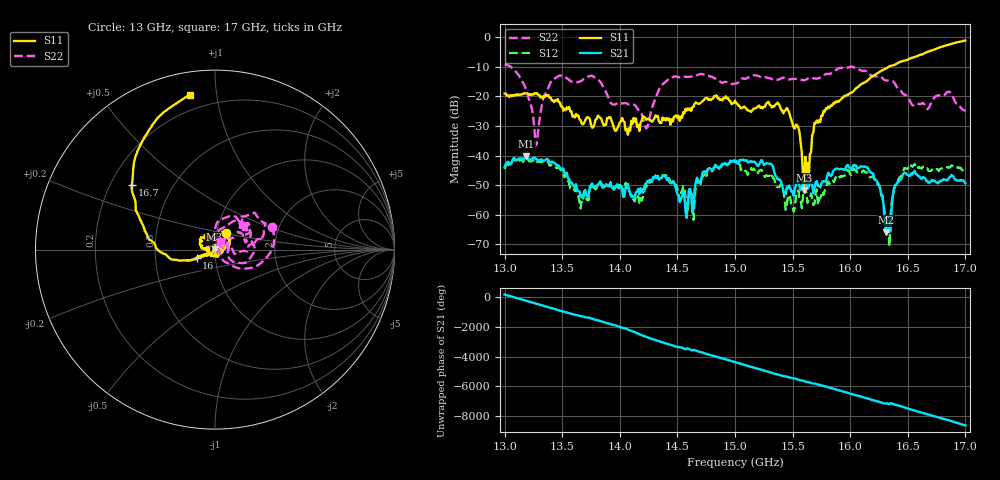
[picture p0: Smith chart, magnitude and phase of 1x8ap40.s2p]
!Keysight Technologies,P9374A,MY57211807,A.19.30.04
!Date: Friday, May 08, 2026 14:37:02
!Correction: S11(C  2-Port  )
!S21(C  2-Port  )
!S12(C  2-Port  )
!S22(C  2-Port  )
!S2P File: Measurements: S11, S21, S12, S22:
# Hz S  dB  R 50
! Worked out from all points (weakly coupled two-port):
!   401 points, 13 GHz to 17 GHz, reference 50 ohm
!   highest |S21| = -40.15 dB at 13.19 GHz (marker M1); lowest = -66.0 dB at 16.31 GHz (marker M2)
!   lowest |S11| = -51.6 dB at 15.6 GHz (marker M3), VSWR 1.01, Z = 49.8 + j0.0818 ohm
!   |S11| at or under -10 dB: start of sweep to 16.34 GHz
!   |S22| runs from -36.7 to -9.3 dB; largest |S21 - S12| = 0.0031
!   S11 on the Smith chart (normalised r, x): 13 GHz: 1.11, +0.21; 16 GHz: 0.81, -0.07; 16.7 GHz: 0.29, +0.32; 17 GHz: 0.12, +0.84
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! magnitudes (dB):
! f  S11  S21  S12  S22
! 13 GHz  -19.1  -44.0  -44.5  -9.3
! 13.19 GHz  -19.0  -40.2  -40.8  -18.2
! 13.28 GHz  -18.9  -41.2  -42.1  -36.0
! 13.41 GHz  -21.4  -42.1  -43.0  -14.6
! 13.67 GHz  -29.3  -53.5  -55.0  -14.7
! 14.23 GHz  -28.0  -49.5  -50.7  -30.9
! 14.34 GHz  -28.6  -48.2  -47.8  -17.7
! 14.57 GHz  -24.2  -58.7  -53.9  -13.4
! 14.74 GHz  -20.7  -45.3  -46.0  -12.9
! 15 GHz  -21.5  -42.3  -42.0  -15.7
! 15.31 GHz  -23.1  -42.8  -47.6  -14.0
! 15.45 GHz  -23.9  -50.7  -56.5  -14.2
! 15.55 GHz  -30.6  -48.8  -51.7  -14.2
! 15.6 GHz  -51.6  -47.0  -51.3  -14.6
! 15.67 GHz  -33.1  -49.9  -54.6  -13.8
! 16 GHz  -19.0  -44.2  -46.3  -10.1
! 16.18 GHz  -13.6  -45.8  -47.2  -12.9
! 16.31 GHz  -10.6  -66.0  -61.4  -14.7
! 16.34 GHz  -9.9  -64.9  -70.6  -14.8
! 16.46 GHz  -8.1  -46.2  -45.3  -19.2
! 16.7 GHz  -4.6  -48.9  -45.2  -22.5
! 17 GHz  -1.2  -49.4  -46.3  -25.0
